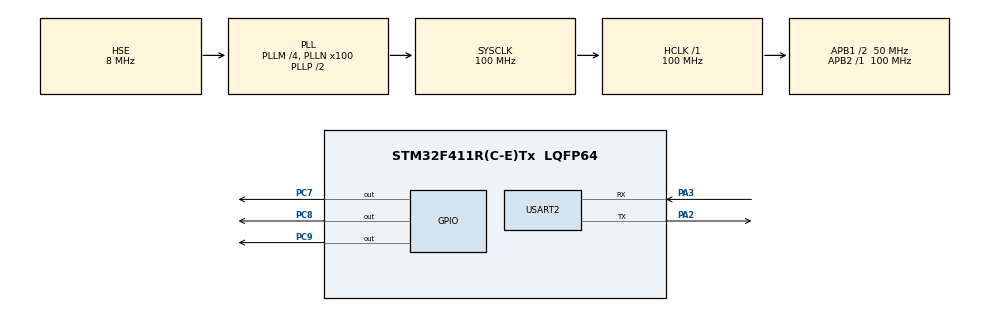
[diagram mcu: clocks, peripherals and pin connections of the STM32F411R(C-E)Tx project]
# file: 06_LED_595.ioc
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Mcu.Family=STM32F4
Mcu.Name=STM32F411R(C-E)Tx
Mcu.Package=LQFP64
NVIC.PriorityGroup=NVIC_PRIORITYGROUP_4
NVIC.USART2_IRQn=true\:0\:0\:false\:false\:true\:true\:true\:true
PA13.Mode=Serial_Wire
PA13.Signal=SYS_JTMS-SWDIO
PA14.Mode=Serial_Wire
PA14.Signal=SYS_JTCK-SWCLK
PA2.Mode=Asynchronous
PA2.Signal=USART2_TX
PA3.Mode=Asynchronous
PA3.Signal=USART2_RX
PC7.GPIO_Speed=GPIO_SPEED_FREQ_HIGH
PC7.PinState=GPIO_PIN_RESET
PC7.Signal=GPIO_Output
PC8.GPIO_Speed=GPIO_SPEED_FREQ_HIGH
PC8.Signal=GPIO_Output
PC9.GPIO_Speed=GPIO_SPEED_FREQ_HIGH
PC9.PinState=GPIO_PIN_RESET
PC9.Signal=GPIO_Output
PH0\ -\ OSC_IN.Mode=HSE-External-Clock-Source
PH0\ -\ OSC_IN.Signal=RCC_OSC_IN
PH1\ -\ OSC_OUT.Mode=HSE-External-Clock-Source
PH1\ -\ OSC_OUT.Signal=RCC_OSC_OUT
ProjectManager.HeapSize=0x200
ProjectManager.StackSize=0x400
ProjectManager.TargetToolchain=STM32CubeIDE
RCC.48MHZClocksFreq_Value=50000000
RCC.AHBFreq_Value=100000000
RCC.APB1CLKDivider=RCC_HCLK_DIV2
RCC.APB1Freq_Value=50000000
RCC.APB1TimFreq_Value=100000000
RCC.APB2Freq_Value=100000000
RCC.APB2TimFreq_Value=100000000
RCC.CortexFreq_Value=100000000
RCC.HCLKFreq_Value=100000000
RCC.HSE_VALUE=8000000
RCC.HSI_VALUE=16000000
RCC.LSE_VALUE=32768
RCC.PLLM=4
RCC.PLLN=100
RCC.PLLSourceVirtual=RCC_PLLSOURCE_HSE
RCC.SYSCLKFreq_VALUE=100000000
RCC.SYSCLKSource=RCC_SYSCLKSOURCE_PLLCLK
RCC.VCOOutputFreq_Value=200000000
TIM11.Prescaler=100-1
USART2.VirtualMode=VM_ASYNC
VP_TIM11_VS_ClockSourceINT.Mode=Enable_Timer
board=custom

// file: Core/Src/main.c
/* USER CODE BEGIN Header */
/**
  ******************************************************************************
  * @file           : main.c
  * @brief          : Main program body
  ******************************************************************************
  * @attention
  *
  * Copyright (c) 2026 STMicroelectronics.
  * All rights reserved.
  *
  * This software is licensed under terms that can be found in the LICENSE file
  * in the root directory of this software component.
  * If no LICENSE file comes with this software, it is provided AS-IS.
  *
  ******************************************************************************
  */
/* USER CODE END Header */
#include "main.h"
#include "tim.h"
#include "usart.h"
#include "gpio.h"

/* USER CODE BEGIN PTD */

#define SER_PIN GPIO_PIN_7
#define SRCLK_PIN GPIO_PIN_8
#define RCLK_PIN GPIO_PIN_9
#define GPIO_PORT GPIOC

/* USER CODE END PTD */

void SystemClock_Config(void);
/* USER CODE BEGIN PFP */

void delay_us(uint16_t us)
{
	uint16_t start = __HAL_TIM_GET_COUNTER(&htim11);
	while((__HAL_TIM_GET_COUNTER(&htim11) - start) < us);
}

//HAL_gettick을 안쓰는 이유?

/*
 * dataOut()
 *
 * SN74HC595(8bit Shift Register + Latch)에
 * 1바이트(8비트) 데이터를 직렬로 전송한 뒤,
 * 래치 클럭을 통해 출력(QA~QH)에 한 번에 반영하는 함수
 *
 * 핀 역할 요약
 * ------------------------------------------------
 * SER   : 직렬 데이터 입력 (DS)
 * SRCLK : 시프트 클럭 (SH_CP)
 *         → 상승엣지에서 SER 값이 내부 쉬프트 레지스터로 이동
 * RCLK  : 래치 클럭 (ST_CP)
 *         → 상승엣지에서 쉬프트 레지스터 값이 출력 래치로 복사
 *
 * 동작 흐름
 * ------------------------------------------------
 * 1. data의 MSB(bit7)부터 LSB(bit0)까지 한 비트씩 처리
 * 2. 현재 비트를 SER 핀에 출력
 * 3. SRCLK을 토글하여 해당 비트를 쉬프트 레지스터로 밀어넣음
 * 4. 총 8비트 전송 완료 후
 * 5. RCLK을 토글하여 출력 QA~QH에 한 번에 반영
 *
 * 특징
 * ------------------------------------------------
 * - MSB First 방식
 * - GPIO bit-banging 방식 (SPI 미사용)
 * - 래치 구조 덕분에 전송 중 출력이 변하지 않아 LED 깜빡임 없음
 */
/*
 * dataOut()
 *
 * SN74HC595(8bit Shift Register + Latch)에
 * 1바이트(8비트) 데이터를 직렬로 전송한 뒤,
 * 래치 클럭을 통해 출력(QA~QH)에 한 번에 반영하는 함수
 *
 * 핀 역할 요약
 * ------------------------------------------------
 * SER   : 직렬 데이터 입력 (DS)
 * SRCLK : 시프트 클럭 (SH_CP)
 *         → 상승엣지에서 SER 값이 내부 쉬프트 레지스터로 이동
 * RCLK  : 래치 클럭 (ST_CP)
 *         → 상승엣지에서 쉬프트 레지스터 값이 출력 래치로 복사
 *
 * 동작 흐름
 * ------------------------------------------------
 * 1. data의 MSB(bit7)부터 LSB(bit0)까지 한 비트씩 처리
 * 2. 현재 비트를 SER 핀에 출력
 * 3. SRCLK을 토글하여 해당 비트를 쉬프트 레지스터로 밀어넣음
 * 4. 총 8비트 전송 완료 후
 * 5. RCLK을 토글하여 출력 QA~QH에 한 번에 반영
 *
 * 특징
 * ------------------------------------------------
 * - MSB First 방식
 * - GPIO bit-banging 방식 (SPI 미사용)
 * - 래치 구조 덕분에 전송 중 출력이 변하지 않아 LED 깜빡임 없음
 */
void dataOut(uint8_t data)
{
    /*
     * i = 7 → 0
     * MSB부터 LSB까지 순차적으로 전송
     */
	for(int i = 7; i >= 0; i--)
	{
        /*
         * 현재 전송할 비트를 SER 핀에 출력
         * data의 i번째 비트가 1이면 HIGH, 0이면 LOW
         *
         * 이 시점에서는 아직 74HC595 내부로 들어가지 않고
         * 단순히 입력 핀에 값만 세팅된 상태
         */
		if(data & (1 << i))
		{
			HAL_GPIO_WritePin(GPIO_PORT, SER_PIN, GPIO_PIN_SET);
		}
		else
		{
			HAL_GPIO_WritePin(GPIO_PORT, SER_PIN, GPIO_PIN_RESET);
		}

        /*
         * SRCLK(Shift Clock) 펄스 생성
         *
         * - SRCLK의 상승엣지에서 SER 값이
         *   내부 쉬프트 레지스터로 이동
         * - 이후 비트들은 한 칸씩 밀려남
         *
         * delay_us()는 setup/hold time 확보용 여유
         */
		HAL_GPIO_WritePin(GPIO_PORT, SRCLK_PIN, GPIO_PIN_SET);
		delay_us(5);

		HAL_GPIO_WritePin(GPIO_PORT, SRCLK_PIN, GPIO_PIN_RESET);
		delay_us(5);
	}

    /*
     * RCLK(Latch Clock) 펄스 생성
     *
     * - 지금까지 쉬프트 레지스터에 쌓인 8비트 데이터를
     *   출력 래치로 복사
     * - QA~QH 핀이 이 순간에만 갱신됨
     *
     * 장점:
     * - 데이터 전송 중에는 출력이 바뀌지 않음
     * - LED/FND 사용 시 중간 상태가 보이지 않음
     */
	HAL_GPIO_WritePin(GPIO_PORT, RCLK_PIN, GPIO_PIN_SET);
	delay_us(10);
	HAL_GPIO_WritePin(GPIO_PORT, RCLK_PIN, GPIO_PIN_RESET);
}

/* USER CODE END PFP */

int main(void)
{

  /* MCU Configuration--------------------------------------------------------*/

  /* Reset of all peripherals, Initializes the Flash interface and the Systick. */
  HAL_Init();

  /* Configure the system clock */
  SystemClock_Config();

  /* Initialize all configured peripherals */
  MX_GPIO_Init();
  MX_USART2_UART_Init();
  MX_TIM11_Init();
  /* USER CODE BEGIN 2 */

  HAL_TIM_Base_Start(&htim11);

  /* USER CODE END 2 */

  /* Infinite loop */
  /* USER CODE BEGIN WHILE */
  while (1)
  {

	  for(uint8_t i = 0; i < 8; i++)
	  {
		  dataOut(1 << i);
		  HAL_Delay(500);
	  }

    /* USER CODE END WHILE */

  }
}

void SystemClock_Config(void)
{
  RCC_OscInitTypeDef RCC_OscInitStruct = {0};
  RCC_ClkInitTypeDef RCC_ClkInitStruct = {0};

  /** Configure the main internal regulator output voltage
  */
  __HAL_RCC_PWR_CLK_ENABLE();
  __HAL_PWR_VOLTAGESCALING_CONFIG(PWR_REGULATOR_VOLTAGE_SCALE1);

  /** Initializes the RCC Oscillators according to the specified parameters
  * in the RCC_OscInitTypeDef structure.
  */
  RCC_OscInitStruct.OscillatorType = RCC_OSCILLATORTYPE_HSE;
  RCC_OscInitStruct.HSEState = RCC_HSE_BYPASS;
  RCC_OscInitStruct.PLL.PLLState = RCC_PLL_ON;
  RCC_OscInitStruct.PLL.PLLSource = RCC_PLLSOURCE_HSE;
  RCC_OscInitStruct.PLL.PLLM = 4;
  RCC_OscInitStruct.PLL.PLLN = 100;
  RCC_OscInitStruct.PLL.PLLP = RCC_PLLP_DIV2;
  RCC_OscInitStruct.PLL.PLLQ = 4;
  if (HAL_RCC_OscConfig(&RCC_OscInitStruct) != HAL_OK)
  {
    Error_Handler();
  }

  /** Initializes the CPU, AHB and APB buses clocks
  */
  RCC_ClkInitStruct.ClockType = RCC_CLOCKTYPE_HCLK|RCC_CLOCKTYPE_SYSCLK
                              |RCC_CLOCKTYPE_PCLK1|RCC_CLOCKTYPE_PCLK2;
  RCC_ClkInitStruct.SYSCLKSource = RCC_SYSCLKSOURCE_PLLCLK;
  RCC_ClkInitStruct.AHBCLKDivider = RCC_SYSCLK_DIV1;
  RCC_ClkInitStruct.APB1CLKDivider = RCC_HCLK_DIV2;
  RCC_ClkInitStruct.APB2CLKDivider = RCC_HCLK_DIV1;

  if (HAL_RCC_ClockConfig(&RCC_ClkInitStruct, FLASH_LATENCY_3) != HAL_OK)
  {
    Error_Handler();
  }
}

void Error_Handler(void)
{
  __disable_irq();
  while (1)
  {
  }
}
